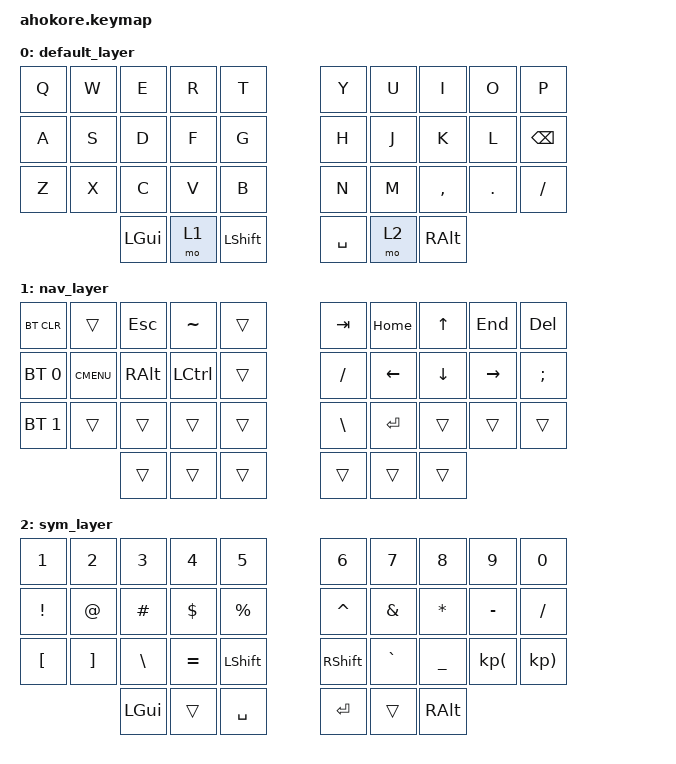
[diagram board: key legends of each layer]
/*
 * Copyright (c) 2020 The ZMK Contributors
 *
 * SPDX-License-Identifier: MIT
 */

#include <behaviors.dtsi>
#include <dt-bindings/zmk/keys.h>
#include <dt-bindings/zmk/bt.h>

/ {
        keymap {
                compatible = "zmk,keymap";

                default_layer {
// -----------------------------------------------------------------------------------------
// |  Q  |  W  |  E  |  R  |  T   |   |  Y  |  U   |  I  |  O  |  P  |
// |  A  |  S  |  D  |  F  |  G   |   |  H  |  J   |  K  |  L  |  BS  |
// |  Z  |  X  |  C  |  V  |  B   |   |  N  |  M   |  ,  |  .  |  /  |
//             | GUI | NAV | SHFT |   | SPC | SYM  | ALT |
                        bindings = <
   &kp Q &kp W &kp E &kp R &kp T   &kp Y &kp U  &kp I     &kp O   &kp P
   &kp A &kp S &kp D &kp F &kp G   &kp H &kp J  &kp K     &kp L   &kp BSPC
   &kp Z &kp X &kp C &kp V &kp B   &kp N &kp M  &kp COMMA &kp DOT &kp FSLH
          &kp LGUI &mo 1 &kp LSHFT &kp SPACE &mo 2 &kp RALT
                        >;
                };
                nav_layer {
// -----------------------------------------------------------------------------------------
// |BTCLR|     | ESC |  ~   |     |   | TAB | HOME |  UP  | END | DEL  |
// | BT1 | GUI | ALT | CTRL | NUM |   |  /  | LEFT | DOWN | RGT |   ;  |
// | BT2 |     |     |      |     |   |  \  | ENT  |      |     |      |
//             |     |      |     |   |     |      |      |
                        bindings = <
   &bt BT_CLR   &trans      &kp ESC  &kp TILDE &trans     &kp TAB  &kp HOME &kp UP   &kp END   &kp DEL
   &bt BT_SEL 0 &kp K_CMENU &kp RALT &kp LCTRL &trans     &kp FSLH &kp LEFT &kp DOWN &kp RIGHT &kp SEMI
   &bt BT_SEL 1 &trans      &trans   &trans    &trans     &kp BSLH &kp RET  &trans   &trans    &trans
                            &trans   &trans    &trans     &trans   &trans   &trans
                        >;
                };

                sym_layer {
// -----------------------------------------------------------------------------------------
// |  1  |  2  |  3  |  4  |  5  |   |  6  |  7  |  8  |  9  |  0  |
// |  !  |  @  |  #  |  $  |  %  |   |  ^  |  &  |  *  |  -  |  /  |
// |  [  |  ]  |  \  |  =  |SHFT |   | SHFT|  `  |  _  |  (  |  )  |
//             | GUI |     | SPC |   | ENT |     | ALT |
                        bindings = <
   &kp N1    &kp N2    &kp N3    &kp N4      &kp N5      &kp N6    &kp N7    &kp N8    &kp N9      &kp N0
   &kp EXCL  &kp AT    &kp HASH  &kp DOLLAR  &kp PRCNT   &kp CARET &kp AMPS  &kp STAR  &kp MINUS   &kp SLASH
   &kp LBKT  &kp RBKT  &kp BSLH  &kp EQL     &kp LSHFT   &kp RSHFT &kp GRAVE &kp UNDER &kp KP_LPAR &kp KP_RPAR
                       &kp LGUI  &trans      &kp SPACE   &kp RET   &trans    &kp RALT
                        >;
                };
        };
};
